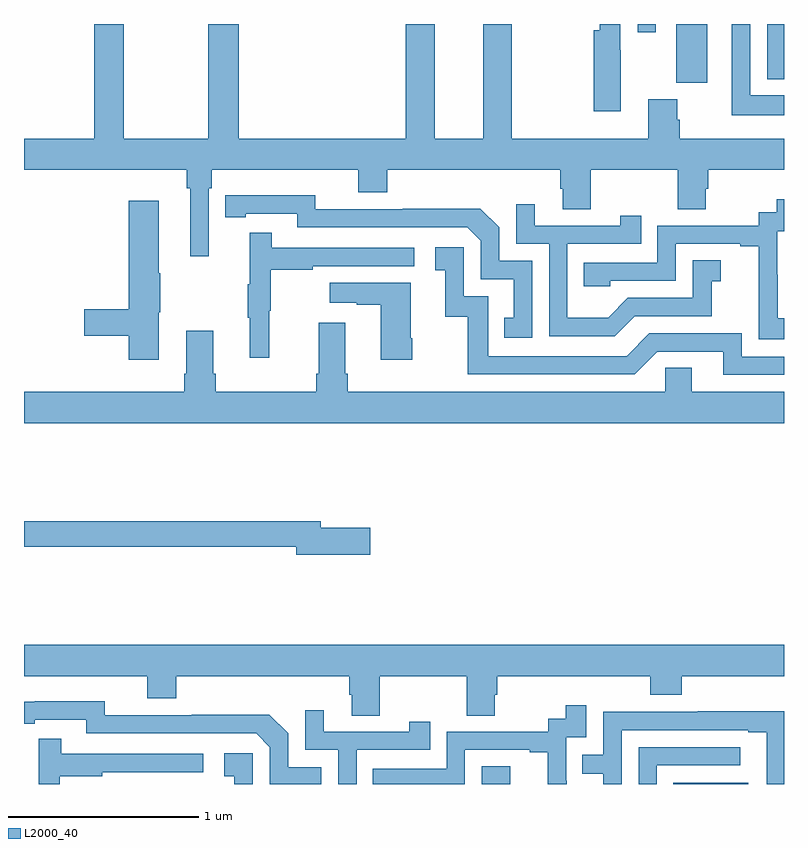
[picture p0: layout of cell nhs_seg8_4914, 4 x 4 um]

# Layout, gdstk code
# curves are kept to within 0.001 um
import gdstk
lib = gdstk.Library(unit=1e-6, precision=1e-09)
def R(c, l, rs):  # rectangles x0, y0, x1, y1
    for r in rs: c.add(gdstk.rectangle(r[:2], r[2:], *l))
def P(c, l, *ps):  # polygons
    for p in ps: c.add(gdstk.Polygon(p, *l))
L2000_40 = (2000, 40)

nhs_seg8_4914 = lib.new_cell('nhs_seg8_4914')
R(nhs_seg8_4914, L2000_40, [(409.41,1147.9,409.558,1147.993), (410.416,1147.9,410.812,1147.906), (410.432,1151.59,410.596,1151.9), (410.913,1151.609,411,1151.9), (410.229,1151.856,410.325,1151.9)])
P(nhs_seg8_4914, L2000_40, [(410.14,1151.762),(410.139,1151.762),(410.139,1151.9),(410.031,1151.9),(410.031,1151.866),(409.999,1151.866),(409.999,1151.442),(410.14,1151.442)],
  [(411,1151.524),(410.823,1151.524),(410.823,1151.9),(410.726,1151.9),(410.726,1151.42),(411,1151.42)],
  [(407.973,1151.036),(407.987,1151.036),(407.987,1151.132),(408.758,1151.132),(408.758,1151.015),(408.911,1151.015),(408.911,1151.132),(409.823,1151.132),(409.823,1151.034),(409.835,1151.034),(409.835,1150.924),(409.983,1150.924),(409.983,1151.132),(410.44,1151.132),(410.44,1150.924),(410.587,1150.924),(410.587,1151.034),(410.6,1151.034),(410.6,1151.132),(411,1151.132),(411,1151.296),(410.45,1151.296),(410.45,1151.396),(410.437,1151.396),(410.437,1151.505),(410.285,1151.505),(410.285,1151.296),(409.566,1151.296),(409.566,1151.9),(409.418,1151.9),(409.418,1151.296),(409.162,1151.296),(409.162,1151.9),(409.01,1151.9),(409.01,1151.296),(408.131,1151.296),(408.131,1151.9),(407.971,1151.9),(407.971,1151.296),(407.526,1151.296),(407.526,1151.9),(407.371,1151.9),(407.371,1151.296),(407,1151.296),(407,1151.132),(407.857,1151.132),(407.857,1151.036),(407.876,1151.036),(407.876,1150.677),(407.973,1150.677)],
  [(409.674,1150.653),(409.5,1150.653),(409.5,1150.83),(409.402,1150.928),(408.994,1150.928),(408.994,1150.926),(408.534,1150.926),(408.534,1150.999),(408.058,1150.998),(408.058,1150.882),(408.166,1150.882),(408.166,1150.902),(408.438,1150.902),(408.438,1150.83),(409.332,1150.83),(409.404,1150.758),(409.404,1150.557),(409.577,1150.557),(409.577,1150.353),(409.528,1150.353),(409.528,1150.248),(409.674,1150.248)],
  [(411,1150.351),(410.966,1150.351),(410.966,1150.58),(410.964,1150.58),(410.964,1150.809),(411,1150.809),(411,1150.978),(410.961,1150.978),(410.961,1150.908),(410.868,1150.908),(410.868,1150.839),(410.334,1150.839),(410.334,1150.644),(409.945,1150.644),(409.945,1150.521),(410.085,1150.521),(410.085,1150.548),(410.43,1150.548),(410.43,1150.743),(410.771,1150.743),(410.771,1150.731),(410.867,1150.731),(410.867,1150.447),(410.866,1150.447),(410.866,1150.241),(411,1150.241)],
  [(407.71,1150.383),(407.718,1150.383),(407.718,1150.589),(407.71,1150.589),(407.71,1150.969),(407.552,1150.969),(407.552,1150.4),(407.316,1150.4),(407.316,1150.258),(407.552,1150.258),(407.552,1150.134),(407.71,1150.134)],
  [(410.215,1150.362),(410.619,1150.362),(410.619,1150.547),(410.668,1150.547),(410.668,1150.657),(410.52,1150.657),(410.52,1150.458),(410.178,1150.458),(410.074,1150.354),(409.86,1150.354),(409.86,1150.743),(410.249,1150.743),(410.249,1150.891),(410.138,1150.891),(410.138,1150.839),(409.687,1150.839),(409.687,1150.951),(409.59,1150.951),(409.59,1150.743),(409.764,1150.743),(409.764,1150.257),(410.11,1150.257)],
  [(408.29,1150.392),(408.298,1150.392),(408.298,1150.606),(408.521,1150.606),(408.521,1150.626),(409.054,1150.626),(409.054,1150.722),(408.305,1150.722),(408.305,1150.801),(408.188,1150.801),(408.188,1150.529),(408.177,1150.529),(408.177,1150.355),(408.188,1150.355),(408.188,1150.143),(408.29,1150.143)],
  [(411,1150.149),(410.778,1150.149),(410.778,1150.272),(410.292,1150.272),(410.172,1150.152),(409.443,1150.152),(409.443,1150.467),(409.314,1150.467),(409.314,1150.726),(409.164,1150.726),(409.164,1150.605),(409.217,1150.605),(409.217,1150.359),(409.335,1150.359),(409.335,1150.056),(410.214,1150.056),(410.334,1150.176),(410.681,1150.176),(410.681,1150.053),(411,1150.053)],
  [(409.044,1150.246),(409.036,1150.246),(409.036,1150.537),(408.609,1150.537),(408.609,1150.433),(408.752,1150.433),(408.752,1150.423),(408.878,1150.423),(408.878,1150.134),(409.044,1150.134)],
  [(411,1149.964),(410.515,1149.964),(410.515,1150.091),(410.376,1150.091),(410.376,1149.964),(408.704,1149.964),(408.704,1150.06),(408.691,1150.06),(408.691,1150.327),(408.551,1150.327),(408.551,1150.06),(408.539,1150.06),(408.539,1149.964),(408.008,1149.964),(408.008,1150.06),(407.995,1150.06),(407.995,1150.285),(407.855,1150.285),(407.855,1150.06),(407.843,1150.06),(407.843,1149.964),(407,1149.964),(407,1149.8),(411,1149.8)],
  [(408.823,1149.248),(408.562,1149.248),(408.562,1149.284),(407,1149.284),(407,1149.148),(408.434,1149.148),(408.434,1149.106),(408.823,1149.106)],
  [(408.873,1148.468),(409.33,1148.468),(409.33,1148.26),(409.477,1148.26),(409.477,1148.37),(409.49,1148.37),(409.49,1148.468),(410.297,1148.468),(410.297,1148.369),(410.462,1148.369),(410.462,1148.468),(411,1148.468),(411,1148.632),(407,1148.632),(407,1148.468),(407.648,1148.468),(407.648,1148.351),(407.801,1148.351),(407.801,1148.468),(408.713,1148.468),(408.713,1148.37),(408.725,1148.37),(408.725,1148.26),(408.873,1148.26)],
  [(408.564,1147.989),(408.39,1147.989),(408.39,1148.166),(408.292,1148.264),(407.884,1148.264),(407.884,1148.262),(407.424,1148.262),(407.424,1148.335),(407,1148.334),(407,1148.218),(407.056,1148.218),(407.056,1148.238),(407.328,1148.238),(407.328,1148.166),(408.222,1148.166),(408.294,1148.094),(408.294,1147.9),(408.564,1147.9)],
  [(409.32,1148.079),(409.661,1148.079),(409.661,1148.067),(409.757,1148.067),(409.757,1147.9),(409.856,1147.9),(409.856,1147.916),(409.854,1147.916),(409.854,1148.145),(409.959,1148.145),(409.959,1148.314),(409.851,1148.314),(409.851,1148.244),(409.758,1148.244),(409.758,1148.175),(409.224,1148.175),(409.224,1147.98),(408.835,1147.98),(408.835,1147.9),(409.32,1147.9)],
  [(408.75,1148.079),(409.139,1148.079),(409.139,1148.227),(409.028,1148.227),(409.028,1148.175),(408.577,1148.175),(408.577,1148.287),(408.48,1148.287),(408.48,1148.079),(408.654,1148.079),(408.654,1147.9),(408.75,1147.9)],
  [(410.145,1148.184),(410.813,1148.184),(410.813,1148.172),(410.91,1148.172),(410.91,1147.9),(411,1147.9),(411,1148.282),(410.545,1148.282),(410.545,1148.28),(410.049,1148.28),(410.049,1148.055),(409.939,1148.055),(409.939,1147.954),(410.049,1147.954),(410.049,1147.9),(410.145,1147.9)],
  [(407.188,1147.942),(407.411,1147.942),(407.411,1147.962),(407.944,1147.962),(407.944,1148.058),(407.195,1148.058),(407.195,1148.137),(407.078,1148.137),(407.078,1147.9),(407.188,1147.9)],
  [(410.331,1147.998),(410.77,1147.998),(410.77,1148.094),(410.235,1148.094),(410.235,1147.9),(410.331,1147.9)],
  [(408.204,1148.062),(408.054,1148.062),(408.054,1147.941),(408.107,1147.941),(408.107,1147.9),(408.204,1147.9)])

lib.write_gds('nhs_seg8_4914.gds')
